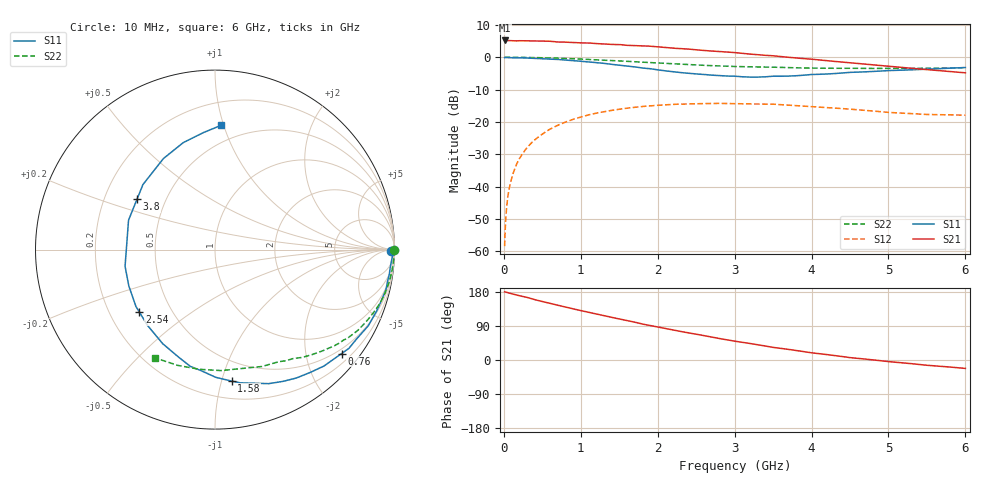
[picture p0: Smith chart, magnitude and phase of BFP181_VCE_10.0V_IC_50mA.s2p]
! Infineon Technologies  Discrete & RF Semiconductors
! BFP181
! VCE = 10.0V,  IC =  50 mA
! Common Emitter S-Parameters:  Jan 2016
# GHz  S  MA  R  50
!  f  S11  S21  S12  S22
! GHz  MAG  ANG  MAG  ANG  MAG  ANG  MAG  ANG
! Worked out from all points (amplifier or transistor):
!   210 points, 10 MHz to 6 GHz, reference 50 ohm
!   highest |S21| = 5.2 dB at 10 MHz (marker M1)
!   |S21| within 3 dB of that: start of sweep to 2.552 GHz
!   unconditionally stable (mu >= 1): 3.749 GHz to end of sweep
!   at 185 MHz: K = 0.08, MSG = 18.6 dB, |S12| = -32.1 dB
!   at 1.52 GHz: K = 0.44, MSG = 10.0 dB, |S12| = -16.0 dB
!   at 6 GHz: K = 1.42, MAG = 2.7 dB, |S12| = -17.9 dB
!   S11 on the Smith chart (normalised r, x): 10 MHz: open; 760 MHz: 0.40, -2.74; 1.58 GHz: 0.33, -1.08; 2.54 GHz: 0.33, -0.33; 3.8 GHz: 0.34, +0.27; 6 GHz: 0.37, +0.98
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0.01  0.9833 -0.6  1.817 179.8  0.0012 80.2  0.9988 -0.2
0.015  0.988 -0.9  1.816 179.7  0.0018 80.9  0.9978 -0.3
0.03  0.9913 -1.6  1.812 178.8  0.0039 87.0  0.9971 -0.8
0.05  0.9885 -2.5  1.807 177.5  0.0068 91.1  0.9979 -1.3
0.095  0.982 -5.0  1.795 175.3  0.0126 84.9  0.9988 -2.5
0.17  0.9795 -8.9  1.79 171.3  0.0228 82.8  0.9958 -4.4
0.28  0.9743 -14.8  1.796 166.1  0.0371 79.1  0.9924 -7.3
0.4  0.9636 -20.8  1.787 159.4  0.0526 75.2  0.9877 -10.3
0.76  0.9124 -39.4  1.715 141.8  0.095 61.6  0.961 -19.2
1.02  0.8621 -53.1  1.666 129.5  0.1209 52.6  0.9341 -25.2
1.3  0.8044 -68.2  1.605 117.1  0.1437 43.2  0.9018 -31.4
1.58  0.7382 -82.8  1.537 104.9  0.1619 35.3  0.8676 -36.7
2.02  0.6334 -108.5  1.44 86.1  0.1815 23.6  0.814 -44.5
2.54  0.5468 -140.3  1.29 66.6  0.1914 11.4  0.7554 -53.1
2.8  0.5212 -157.1  1.23 56.7  0.1934 5.7  0.7362 -57.2
3.1  0.4989 -175.2  1.148 46.7  0.1909 0.0  0.7144 -61.8
3.5  0.5088 161.2  1.053 33.3  0.1881 -6.9  0.7018 -68.1
3.8  0.5178 146.8  0.974 25.1  0.1788 -10.7  0.6862 -73.5
4.1  0.5446 134.0  0.908 16.7  0.1699 -14.3  0.6768 -79.2
4.5  0.5831 119.5  0.824 6.3  0.1577 -18.3  0.675 -87.1
5.1  0.6266 104.2  0.708 -6.0  0.1384 -19.1  0.6717 -99.5
6  0.6937 87.1  0.574 -22.2  0.1272 -13.1  0.6892 -118.8
